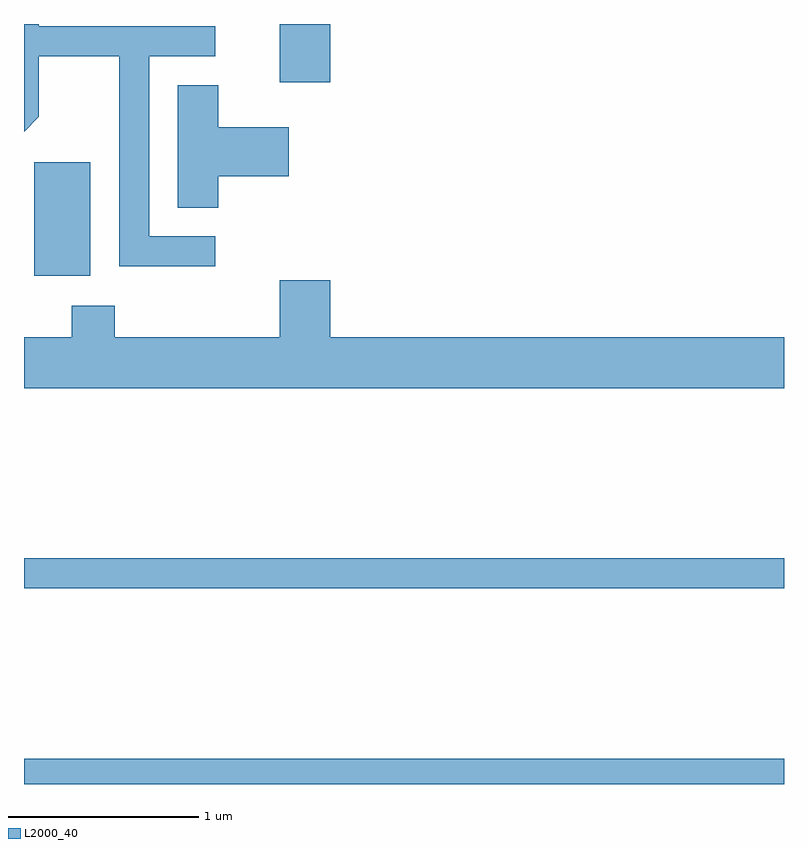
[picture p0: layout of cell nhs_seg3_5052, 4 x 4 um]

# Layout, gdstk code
import gdstk
lib = gdstk.Library(unit=1e-6, precision=1e-09)
def R(c, l, rs):  # rectangles x0, y0, x1, y1
    for r in rs: c.add(gdstk.rectangle(r[:2], r[2:], *l))
def P(c, l, *ps):  # polygons
    for p in ps: c.add(gdstk.Polygon(p, *l))
L2000_40 = (2000, 40)

nhs_seg3_5052 = lib.new_cell('nhs_seg3_5052')
R(nhs_seg3_5052, L2000_40, [(333.611,1163.892,337.611,1164.024), (333.611,1164.921,337.611,1165.079), (333.666,1166.566,333.959,1167.164), (334.956,1167.586,335.224,1167.892)])
P(nhs_seg3_5052, L2000_40, [(334.618,1166.774),(334.269,1166.774),(334.269,1167.721),(334.618,1167.721),(334.618,1167.879),(333.689,1167.879),(333.689,1167.892),(333.611,1167.892),(333.611,1167.326),(333.689,1167.404),(333.689,1167.721),(334.111,1167.721),(334.111,1166.616),(334.618,1166.616)],
  [(334.634,1167.091),(335.004,1167.091),(335.004,1167.349),(334.634,1167.349),(334.634,1167.569),(334.421,1167.569),(334.421,1166.926),(334.634,1166.926)],
  [(337.611,1166.244),(335.224,1166.244),(335.224,1166.544),(334.956,1166.544),(334.956,1166.244),(334.089,1166.244),(334.089,1166.409),(333.861,1166.409),(333.861,1166.244),(333.611,1166.244),(333.611,1165.976),(337.611,1165.976)])

lib.write_gds('nhs_seg3_5052.gds')
